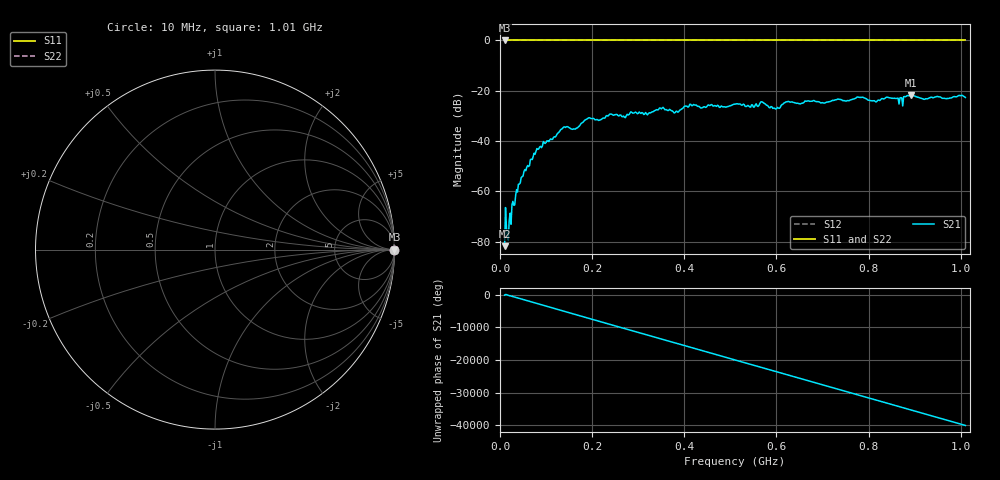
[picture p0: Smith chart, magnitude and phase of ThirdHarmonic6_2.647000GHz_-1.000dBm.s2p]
! 8/17/2025 6:01:10 AM
! C:\ANRITSUVNA\TEMP\TEMP.S2P
! CHANNEL.1
! TR.MEASUREMENT
! RAW.DATA
! RF.CORRECTION.OFF
! AVERAGING.OFF
! IF.BANDWIDTH: 5KHZ
! SWEEPTYPE:  FREQ.SWEEP(Linear)
! Reference Plane Port Info
! PORT:  PORT1  PORT2
! DISTANCE:  0  m  0  m
! TIME:  0  s  0  s
! PHASE.OFFSET:  0  deg.  0  deg.
! LOSS:  0  dB  0  dB
! REF.LOSS:  0  dB  0  dB
! REF.FREQ:  0  Hz  0  Hz
! Power Info
! POWER:  -20  dBm  -20  dBm
! EFF.POWER:  -20  dBm  -20  dBm
! SOURCE.ATTEN:  0  dB  0  dB
! TEST.ATTEN:  0  dB  0  dB
# GHZ S RI R 50.0
! FREQ.GHZ  S11RE  S11IM  S21RE  S21IM  S12RE  S12IM  S22RE  S22IM
!; PortSelection: Port_12
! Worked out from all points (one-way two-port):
!   501 points, 10 MHz to 1.01 GHz, reference 50 ohm
!   highest |S21| = -21.70 dB at 892 MHz (marker M1); lowest = -81.8 dB at 10 MHz (marker M2)
!   lowest |S11| = 0.0 dB at 10 MHz (marker M3)
!   |S11| at or under -10 dB: nowhere
!   |S22| runs from 0.0 to 0.0 dB; largest |S21 - S12| = 1.1
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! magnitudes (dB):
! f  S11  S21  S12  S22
! 10 MHz  0.0  -81.8  0.0  0.0
! 20 MHz  0.0  -71.4  0.0  0.0
! 24 MHz  0.0  -73.0  0.0  0.0
! 44 MHz  0.0  -56.6  0.0  0.0
! 78 MHz  0.0  -44.1  0.0  0.0
! 136 MHz  0.0  -34.9  0.0  0.0
! 162 MHz  0.0  -35.2  0.0  0.0
! 178 MHz  0.0  -32.7  0.0  0.0
! 192 MHz  0.0  -30.8  0.0  0.0
! 322 MHz  0.0  -29.1  0.0  0.0
! 344 MHz  0.0  -27.5  0.0  0.0
! 382 MHz  0.0  -28.2  0.0  0.0
! 416 MHz  0.0  -25.9  0.0  0.0
! 510 MHz  0.0  -25.3  0.0  0.0
! 570 MHz  0.0  -24.5  0.0  0.0
! 596 MHz  0.0  -26.9  0.0  0.0
! 624 MHz  0.0  -24.3  0.0  0.0
! 678 MHz  0.0  -24.1  0.0  0.0
! 844 MHz  0.0  -22.7  0.0  0.0
! 870 MHz  0.0  -22.7  0.0  0.0
! 892 MHz  0.0  -21.7  0.0  0.0
! 1.01 GHz  0.0  -22.7  0.0  0.0
